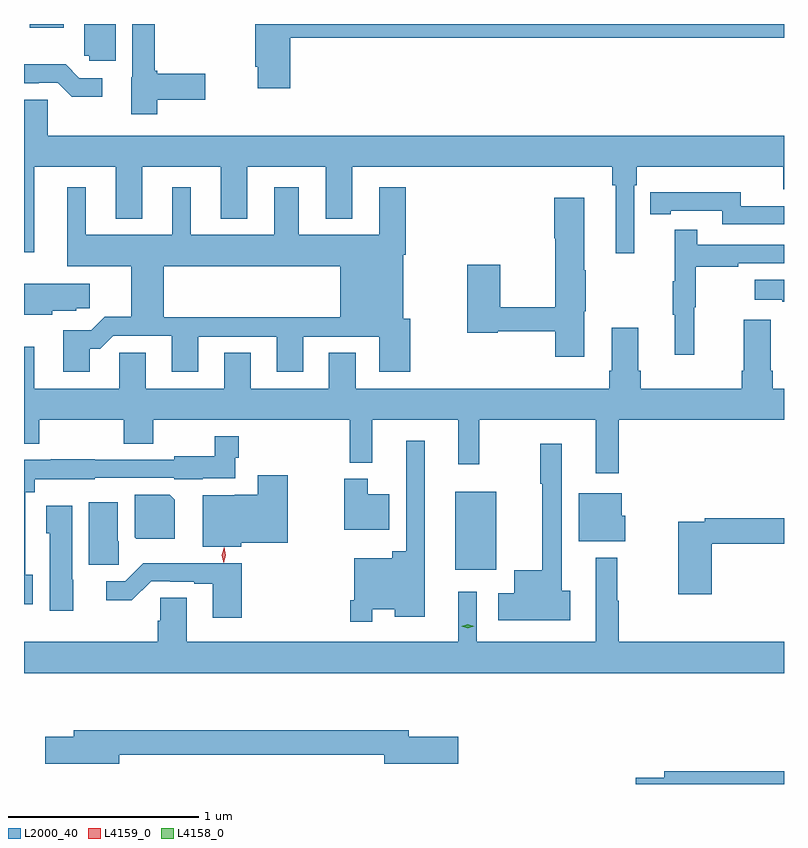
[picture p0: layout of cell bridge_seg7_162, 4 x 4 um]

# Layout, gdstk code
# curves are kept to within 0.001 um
import gdstk
lib = gdstk.Library(unit=1e-6, precision=1e-09)
def R(c, l, rs):  # rectangles x0, y0, x1, y1
    for r in rs: c.add(gdstk.rectangle(r[:2], r[2:], *l))
def P(c, l, *ps):  # polygons
    for p in ps: c.add(gdstk.Polygon(p, *l))
L2000_40 = (2000, 40)
L4158_0 = (4158, 0)
L4159_0 = (4159, 0)

bridge_seg7_162 = lib.new_cell('bridge_seg7_162')
R(bridge_seg7_162, L2000_40, [(468.749,1058.435,468.964,1058.845), (466.509,1061.288,466.687,1061.308)])
P(bridge_seg7_162, L2000_40, [(467.178,1060.91),(467.431,1060.91),(467.431,1061.045),(467.178,1061.045),(467.178,1061.063),(467.165,1061.063),(467.165,1061.308),(467.049,1061.308),(467.049,1061.028),(467.042,1061.028),(467.042,1060.832),(467.178,1060.832)],
  [(467.879,1061.236),(470.478,1061.236),(470.478,1061.308),(467.696,1061.308),(467.696,1061.083),(467.708,1061.083),(467.708,1060.971),(467.879,1060.971)],
  [(466.96,1061.308),(466.796,1061.308),(466.796,1061.142),(466.821,1061.142),(466.821,1061.115),(466.96,1061.115)],
  [(466.891,1061.022),(466.77,1061.022),(466.697,1061.095),(466.478,1061.095),(466.478,1060.995),(466.556,1060.995),(466.556,1060.998),(466.656,1060.998),(466.729,1060.925),(466.891,1060.925)],
  [(469.689,1060.46),(469.703,1060.46),(469.703,1060.556),(470.474,1060.556),(470.474,1060.439),(470.478,1060.439),(470.478,1060.72),(466.602,1060.72),(466.602,1060.91),(466.478,1060.91),(466.478,1060.107),(466.531,1060.107),(466.531,1060.556),(466.961,1060.556),(466.961,1060.283),(467.101,1060.283),(467.101,1060.556),(467.513,1060.556),(467.513,1060.283),(467.653,1060.283),(467.653,1060.556),(468.065,1060.556),(468.065,1060.283),(468.205,1060.283),(468.205,1060.556),(469.573,1060.556),(469.573,1060.46),(469.592,1060.46),(469.592,1060.101),(469.689,1060.101)],
  [(466.685,1059.696),(466.685,1059.477),(466.825,1059.477),(466.825,1059.599),(466.88,1059.599),(466.947,1059.666),(467.255,1059.666),(467.255,1059.477),(467.395,1059.477),(467.395,1059.663),(467.807,1059.663),(467.807,1059.477),(467.947,1059.477),(467.947,1059.663),(468.347,1059.663),(468.347,1059.477),(468.512,1059.477),(468.512,1059.756),(468.475,1059.756),(468.475,1060.094),(468.488,1060.094),(468.488,1060.45),(468.347,1060.45),(468.347,1060.198),(467.923,1060.198),(467.923,1060.45),(467.795,1060.45),(467.795,1060.198),(467.356,1060.198),(467.356,1060.45),(467.258,1060.45),(467.258,1060.198),(466.804,1060.198),(466.804,1060.45),(466.706,1060.45),(466.706,1060.034),(467.042,1060.034),(467.042,1059.767),(466.904,1059.767),(466.901,1059.764),(467.213,1059.764),(467.213,1060.034),(468.143,1060.034),(468.143,1059.764),(466.901,1059.764),(466.833,1059.696)],
  [(470.478,1060.35),(470.25,1060.35),(470.25,1060.423),(469.882,1060.423),(469.882,1060.422),(469.774,1060.422),(469.774,1060.306),(469.882,1060.306),(469.882,1060.326),(470.154,1060.326),(470.154,1060.254),(470.478,1060.254)],
  [(469.426,1059.795),(469.434,1059.795),(469.434,1060.013),(469.426,1060.013),(469.426,1060.393),(469.268,1060.393),(469.268,1060.18),(469.273,1060.18),(469.273,1059.818),(468.984,1059.818),(468.984,1060.042),(468.811,1060.042),(468.811,1059.682),(468.972,1059.682),(468.972,1059.69),(469.273,1059.69),(469.273,1059.558),(469.426,1059.558)],
  [(470.006,1059.816),(470.014,1059.816),(470.014,1060.03),(470.237,1060.03),(470.237,1060.05),(470.478,1060.05),(470.478,1060.146),(470.021,1060.146),(470.021,1060.225),(469.904,1060.225),(469.904,1059.953),(469.893,1059.953),(469.893,1059.779),(469.904,1059.779),(469.904,1059.567),(470.006,1059.567)],
  [(470.478,1059.961),(470.325,1059.961),(470.325,1059.857),(470.468,1059.857),(470.468,1059.847),(470.478,1059.847)],
  [(466.626,1059.8),(466.752,1059.8),(466.752,1059.811),(466.825,1059.811),(466.825,1059.94),(466.478,1059.94),(466.478,1059.779),(466.626,1059.779)],
  [(468.223,1059.578),(468.083,1059.578),(468.083,1059.388),(467.671,1059.388),(467.671,1059.578),(467.531,1059.578),(467.531,1059.388),(467.119,1059.388),(467.119,1059.578),(466.98,1059.578),(466.98,1059.388),(466.531,1059.388),(466.531,1059.61),(466.478,1059.61),(466.478,1059.1),(466.557,1059.1),(466.557,1059.224),(467.002,1059.224),(467.002,1059.1),(467.157,1059.1),(467.157,1059.224),(468.193,1059.224),(468.193,1058.999),(468.311,1058.999),(468.311,1059.224),(468.764,1059.224),(468.764,1058.991),(468.874,1058.991),(468.874,1059.224),(469.487,1059.224),(469.487,1058.943),(469.609,1058.943),(469.609,1059.224),(470.478,1059.224),(470.478,1059.388),(470.42,1059.388),(470.42,1059.484),(470.407,1059.484),(470.407,1059.751),(470.267,1059.751),(470.267,1059.484),(470.255,1059.484),(470.255,1059.388),(469.724,1059.388),(469.724,1059.484),(469.711,1059.484),(469.711,1059.709),(469.571,1059.709),(469.571,1059.484),(469.559,1059.484),(469.559,1059.388),(468.223,1059.388)],
  [(466.525,1058.409),(466.485,1058.409),(466.485,1058.843),(466.534,1058.843),(466.534,1058.912),(466.851,1058.912),(466.851,1058.919),(467.268,1058.919),(467.268,1058.912),(467.418,1058.912),(467.418,1058.918),(467.589,1058.918),(467.589,1059.026),(467.609,1059.026),(467.609,1059.139),(467.481,1059.139),(467.481,1059.034),(467.268,1059.034),(467.268,1059.015),(466.851,1059.015),(466.851,1059.017),(466.619,1059.017),(466.619,1059.015),(466.478,1059.015),(466.478,1058.253),(466.525,1058.253)],
  [(468.312,1058.228),(468.428,1058.228),(468.428,1058.189),(468.586,1058.189),(468.586,1059.115),(468.489,1059.115),(468.489,1058.533),(468.416,1058.533),(468.416,1058.497),(468.216,1058.497),(468.216,1058.275),(468.196,1058.275),(468.196,1058.163),(468.312,1058.163)],
  [(469.354,1058.324),(469.309,1058.324),(469.309,1059.1),(469.195,1059.1),(469.195,1058.887),(469.205,1058.887),(469.205,1058.434),(469.058,1058.434),(469.058,1058.311),(468.974,1058.311),(468.974,1058.171),(469.354,1058.171)],
  [(467.622,1058.579),(467.866,1058.579),(467.866,1058.932),(467.708,1058.932),(467.708,1058.83),(467.586,1058.83),(467.586,1058.828),(467.42,1058.828),(467.42,1058.558),(467.622,1058.558)],
  [(468.4,1058.833),(468.286,1058.833),(468.286,1058.914),(468.164,1058.914),(468.164,1058.645),(468.4,1058.645)],
  [(469.642,1058.721),(469.624,1058.721),(469.624,1058.839),(469.397,1058.839),(469.397,1058.585),(469.642,1058.585)],
  [(467.272,1058.804),(467.246,1058.83),(467.06,1058.83),(467.06,1058.608),(467.068,1058.6),(467.272,1058.6)],
  [(466.976,1058.586),(466.972,1058.586),(466.972,1058.791),(466.82,1058.791),(466.82,1058.463),(466.976,1058.463)],
  [(466.738,1058.382),(466.732,1058.382),(466.732,1058.773),(466.595,1058.773),(466.595,1058.628),(466.613,1058.628),(466.613,1058.22),(466.738,1058.22)],
  [(470.099,1058.572),(470.478,1058.572),(470.478,1058.708),(470.062,1058.708),(470.062,1058.688),(469.921,1058.688),(469.921,1058.307),(470.099,1058.307)],
  [(470.478,1058.056),(469.609,1058.056),(469.609,1058.273),(469.601,1058.273),(469.601,1058.5),(469.487,1058.5),(469.487,1058.056),(468.861,1058.056),(468.861,1058.32),(468.764,1058.32),(468.764,1058.056),(467.335,1058.056),(467.335,1058.288),(467.196,1058.288),(467.196,1058.166),(467.183,1058.166),(467.183,1058.056),(466.478,1058.056),(466.478,1057.892),(470.478,1057.892)],
  [(467.624,1058.471),(467.105,1058.471),(467.01,1058.376),(466.911,1058.376),(466.911,1058.274),(467.046,1058.274),(467.148,1058.376),(467.248,1058.376),(467.248,1058.373),(467.375,1058.373),(467.375,1058.361),(467.471,1058.361),(467.471,1058.184),(467.624,1058.184)],
  [(466.978,1057.462),(468.374,1057.462),(468.374,1057.415),(468.763,1057.415),(468.763,1057.557),(468.502,1057.557),(468.502,1057.591),(466.739,1057.591),(466.739,1057.557),(466.59,1057.557),(466.59,1057.415),(466.978,1057.415)],
  [(470.478,1057.376),(469.847,1057.376),(469.847,1057.34),(469.698,1057.34),(469.698,1057.308),(470.478,1057.308)])
P(bridge_seg7_162, L4158_0, [(468.813,1058.128),(468.779,1058.138),(468.778,1058.139),(468.779,1058.139),(468.813,1058.148),(468.848,1058.138),(468.848,1058.138),(468.848,1058.138)])
P(bridge_seg7_162, L4159_0, [(467.529,1058.472),(467.529,1058.472),(467.52,1058.513),(467.531,1058.553),(467.531,1058.553),(467.532,1058.553),(467.54,1058.512),(467.529,1058.472)])

lib.write_gds('bridge_seg7_162.gds')
